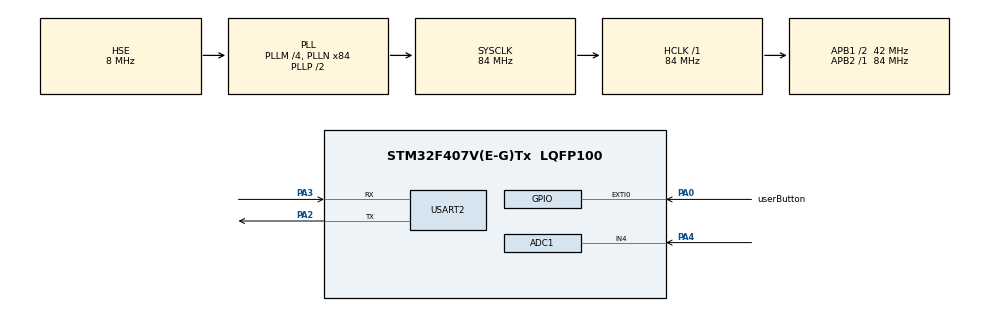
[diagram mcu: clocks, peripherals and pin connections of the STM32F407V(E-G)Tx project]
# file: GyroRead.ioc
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ADC1.Channel-0\#ChannelRegularConversion=ADC_CHANNEL_4
ADC1.ExternalTrigConv=ADC_EXTERNALTRIGCONV_T2_TRGO
ADC1.NbrOfConversionFlag=1
ADC1.Rank-0\#ChannelRegularConversion=1
ADC1.SamplingTime-0\#ChannelRegularConversion=ADC_SAMPLETIME_3CYCLES
ADC1.master=1
Mcu.Family=STM32F4
Mcu.Name=STM32F407V(E-G)Tx
Mcu.Package=LQFP100
NVIC.ADC_IRQn=true\:1\:0\:true\:false\:true\:true\:true\:true
NVIC.EXTI0_IRQn=true\:0\:0\:false\:false\:true\:true\:true\:true
NVIC.PriorityGroup=NVIC_PRIORITYGROUP_4
PA0-WKUP.GPIO_Label=userButton
PA0-WKUP.Signal=GPXTI0
PA2.Mode=Asynchronous
PA2.Signal=USART2_TX
PA3.Mode=Asynchronous
PA3.Signal=USART2_RX
PA4.Signal=ADCx_IN4
PH0-OSC_IN.Mode=HSE-External-Oscillator
PH0-OSC_IN.Signal=RCC_OSC_IN
PH1-OSC_OUT.Mode=HSE-External-Oscillator
PH1-OSC_OUT.Signal=RCC_OSC_OUT
ProjectManager.HeapSize=0x200
ProjectManager.StackSize=0x400
ProjectManager.TargetToolchain=STM32CubeIDE
RCC.48MHZClocksFreq_Value=42000000
RCC.AHBFreq_Value=84000000
RCC.APB1CLKDivider=RCC_HCLK_DIV2
RCC.APB1Freq_Value=42000000
RCC.APB1TimFreq_Value=84000000
RCC.APB2Freq_Value=84000000
RCC.APB2TimFreq_Value=84000000
RCC.CortexFreq_Value=84000000
RCC.HCLKFreq_Value=84000000
RCC.HSE_VALUE=8000000
RCC.HSI_VALUE=16000000
RCC.LSE_VALUE=32768
RCC.PLLM=4
RCC.PLLN=84
RCC.PLLSourceVirtual=RCC_PLLSOURCE_HSE
RCC.SYSCLKFreq_VALUE=84000000
RCC.SYSCLKSource=RCC_SYSCLKSOURCE_PLLCLK
RCC.VCOOutputFreq_Value=168000000
SH.ADCx_IN4.0=ADC1_IN4,IN4
TIM2.Period=100
TIM2.Prescaler=84
TIM2.TIM_MasterOutputTrigger=TIM_TRGO_UPDATE
USART2.VirtualMode=VM_ASYNC
VP_TIM2_VS_ClockSourceINT.Mode=Internal
board=custom

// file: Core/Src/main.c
/* USER CODE BEGIN Header */
/**
  ******************************************************************************
  * @file           : main.c
  * @brief          : Main program body
  ******************************************************************************
  * @attention
  *
  * Copyright (c) 2025 STMicroelectronics.
  * All rights reserved.
  *
  * This software is licensed under terms that can be found in the LICENSE file
  * in the root directory of this software component.
  * If no LICENSE file comes with this software, it is provided AS-IS.
  *
  ******************************************************************************
  */
/* USER CODE END Header */
#include "main.h"

ADC_HandleTypeDef hadc1;

TIM_HandleTypeDef htim2;

UART_HandleTypeDef huart2;

/* USER CODE BEGIN PV */
float angle = 0;
float angularVelocity = 0;
float measuredVoltage = 0;
uint16_t adcValue = 0;
uint16_t adcMin = 3000;
uint16_t adcMax = 0;

/* USER CODE END PV */

void SystemClock_Config(void);
static void MX_GPIO_Init(void);
static void MX_ADC1_Init(void);
static void MX_USART2_UART_Init(void);
static void MX_TIM2_Init(void);

int main(void)
{

  /* MCU Configuration--------------------------------------------------------*/

  /* Reset of all peripherals, Initializes the Flash interface and the Systick. */
  HAL_Init();

  /* Configure the system clock */
  SystemClock_Config();

  /* Initialize all configured peripherals */
  MX_GPIO_Init();
  MX_ADC1_Init();
  MX_USART2_UART_Init();
  MX_TIM2_Init();
  /* USER CODE BEGIN 2 */

  HAL_TIM_Base_Start(&htim2);
  HAL_ADC_Start_IT(&hadc1);
  /* USER CODE END 2 */

  /* Infinite loop */
  /* USER CODE BEGIN WHILE */
  while (1)
  {
	measuredVoltage = (adcValue / 4095.0)*2.9;
	angularVelocity = (measuredVoltage - 1.47)/0.01375/2; // degrees/ time
							//null correction /voltage / sensitivity  because it seams right
	if (angularVelocity > 0.7 || angularVelocity < -0.7){
		angle += angularVelocity * 0.0001; // 1/10 000 s
	}
	if (adcValue < adcMin)
		adcMin = adcValue;
	else if (adcValue > adcMax)
		adcMax = adcValue;

    /* USER CODE END WHILE */

  }
}

void SystemClock_Config(void)
{
  RCC_OscInitTypeDef RCC_OscInitStruct = {0};
  RCC_ClkInitTypeDef RCC_ClkInitStruct = {0};

  /** Configure the main internal regulator output voltage
  */
  __HAL_RCC_PWR_CLK_ENABLE();
  __HAL_PWR_VOLTAGESCALING_CONFIG(PWR_REGULATOR_VOLTAGE_SCALE1);

  /** Initializes the RCC Oscillators according to the specified parameters
  * in the RCC_OscInitTypeDef structure.
  */
  RCC_OscInitStruct.OscillatorType = RCC_OSCILLATORTYPE_HSE;
  RCC_OscInitStruct.HSEState = RCC_HSE_ON;
  RCC_OscInitStruct.PLL.PLLState = RCC_PLL_ON;
  RCC_OscInitStruct.PLL.PLLSource = RCC_PLLSOURCE_HSE;
  RCC_OscInitStruct.PLL.PLLM = 4;
  RCC_OscInitStruct.PLL.PLLN = 84;
  RCC_OscInitStruct.PLL.PLLP = RCC_PLLP_DIV2;
  RCC_OscInitStruct.PLL.PLLQ = 4;
  if (HAL_RCC_OscConfig(&RCC_OscInitStruct) != HAL_OK)
  {
    Error_Handler();
  }

  /** Initializes the CPU, AHB and APB buses clocks
  */
  RCC_ClkInitStruct.ClockType = RCC_CLOCKTYPE_HCLK|RCC_CLOCKTYPE_SYSCLK
                              |RCC_CLOCKTYPE_PCLK1|RCC_CLOCKTYPE_PCLK2;
  RCC_ClkInitStruct.SYSCLKSource = RCC_SYSCLKSOURCE_PLLCLK;
  RCC_ClkInitStruct.AHBCLKDivider = RCC_SYSCLK_DIV1;
  RCC_ClkInitStruct.APB1CLKDivider = RCC_HCLK_DIV2;
  RCC_ClkInitStruct.APB2CLKDivider = RCC_HCLK_DIV1;

  if (HAL_RCC_ClockConfig(&RCC_ClkInitStruct, FLASH_LATENCY_2) != HAL_OK)
  {
    Error_Handler();
  }
}

static void MX_ADC1_Init(void)
{

  ADC_ChannelConfTypeDef sConfig = {0};

  /** Configure the global features of the ADC (Clock, Resolution, Data Alignment and number of conversion)
  */
  hadc1.Instance = ADC1;
  hadc1.Init.ClockPrescaler = ADC_CLOCK_SYNC_PCLK_DIV4;
  hadc1.Init.Resolution = ADC_RESOLUTION_12B;
  hadc1.Init.ScanConvMode = DISABLE;
  hadc1.Init.ContinuousConvMode = DISABLE;
  hadc1.Init.DiscontinuousConvMode = DISABLE;
  hadc1.Init.ExternalTrigConvEdge = ADC_EXTERNALTRIGCONVEDGE_RISING;
  hadc1.Init.ExternalTrigConv = ADC_EXTERNALTRIGCONV_T2_TRGO;
  hadc1.Init.DataAlign = ADC_DATAALIGN_RIGHT;
  hadc1.Init.NbrOfConversion = 1;
  hadc1.Init.DMAContinuousRequests = DISABLE;
  hadc1.Init.EOCSelection = ADC_EOC_SINGLE_CONV;
  if (HAL_ADC_Init(&hadc1) != HAL_OK)
  {
    Error_Handler();
  }

  /** Configure for the selected ADC regular channel its corresponding rank in the sequencer and its sample time.
  */
  sConfig.Channel = ADC_CHANNEL_4;
  sConfig.Rank = 1;
  sConfig.SamplingTime = ADC_SAMPLETIME_3CYCLES;
  if (HAL_ADC_ConfigChannel(&hadc1, &sConfig) != HAL_OK)
  {
    Error_Handler();
  }

}

static void MX_TIM2_Init(void)
{

  TIM_ClockConfigTypeDef sClockSourceConfig = {0};
  TIM_MasterConfigTypeDef sMasterConfig = {0};

  htim2.Instance = TIM2;
  htim2.Init.Prescaler = 84;
  htim2.Init.CounterMode = TIM_COUNTERMODE_UP;
  htim2.Init.Period = 100;
  htim2.Init.ClockDivision = TIM_CLOCKDIVISION_DIV1;
  htim2.Init.AutoReloadPreload = TIM_AUTORELOAD_PRELOAD_DISABLE;
  if (HAL_TIM_Base_Init(&htim2) != HAL_OK)
  {
    Error_Handler();
  }
  sClockSourceConfig.ClockSource = TIM_CLOCKSOURCE_INTERNAL;
  if (HAL_TIM_ConfigClockSource(&htim2, &sClockSourceConfig) != HAL_OK)
  {
    Error_Handler();
  }
  sMasterConfig.MasterOutputTrigger = TIM_TRGO_UPDATE;
  sMasterConfig.MasterSlaveMode = TIM_MASTERSLAVEMODE_DISABLE;
  if (HAL_TIMEx_MasterConfigSynchronization(&htim2, &sMasterConfig) != HAL_OK)
  {
    Error_Handler();
  }

}

static void MX_USART2_UART_Init(void)
{

  huart2.Instance = USART2;
  huart2.Init.BaudRate = 115200;
  huart2.Init.WordLength = UART_WORDLENGTH_8B;
  huart2.Init.StopBits = UART_STOPBITS_1;
  huart2.Init.Parity = UART_PARITY_NONE;
  huart2.Init.Mode = UART_MODE_TX_RX;
  huart2.Init.HwFlowCtl = UART_HWCONTROL_NONE;
  huart2.Init.OverSampling = UART_OVERSAMPLING_16;
  if (HAL_UART_Init(&huart2) != HAL_OK)
  {
    Error_Handler();
  }

}

static void MX_GPIO_Init(void)
{
  GPIO_InitTypeDef GPIO_InitStruct = {0};

  /* GPIO Ports Clock Enable */
  __HAL_RCC_GPIOH_CLK_ENABLE();
  __HAL_RCC_GPIOA_CLK_ENABLE();

  /*Configure GPIO pin : userButton_Pin */
  GPIO_InitStruct.Pin = userButton_Pin;
  GPIO_InitStruct.Mode = GPIO_MODE_IT_RISING;
  GPIO_InitStruct.Pull = GPIO_NOPULL;
  HAL_GPIO_Init(userButton_GPIO_Port, &GPIO_InitStruct);

  /* EXTI interrupt init*/
  HAL_NVIC_SetPriority(EXTI0_IRQn, 0, 0);
  HAL_NVIC_EnableIRQ(EXTI0_IRQn);

}

/* USER CODE BEGIN 4 */
void HAL_GPIO_EXTI_Callback(uint16_t GPIO_Pin)
{
  /* Prevent unused argument(s) compilation warning */
  UNUSED(GPIO_Pin);
  /* NOTE: This function Should not be modified, when the callback is needed,
           the HAL_GPIO_EXTI_Callback could be implemented in the user file
   */

  angle = 0;
}

void HAL_ADC_ConvCpltCallback(ADC_HandleTypeDef *hadc)
{

  if(hadc->Instance == ADC1)  // Check if the ADC interrupt is from ADC1
  {
		adcValue = HAL_ADC_GetValue(&hadc1);
  }

}

/* USER CODE END 4 */

void Error_Handler(void)
{
  __disable_irq();
  while (1)
  {
  }
}
